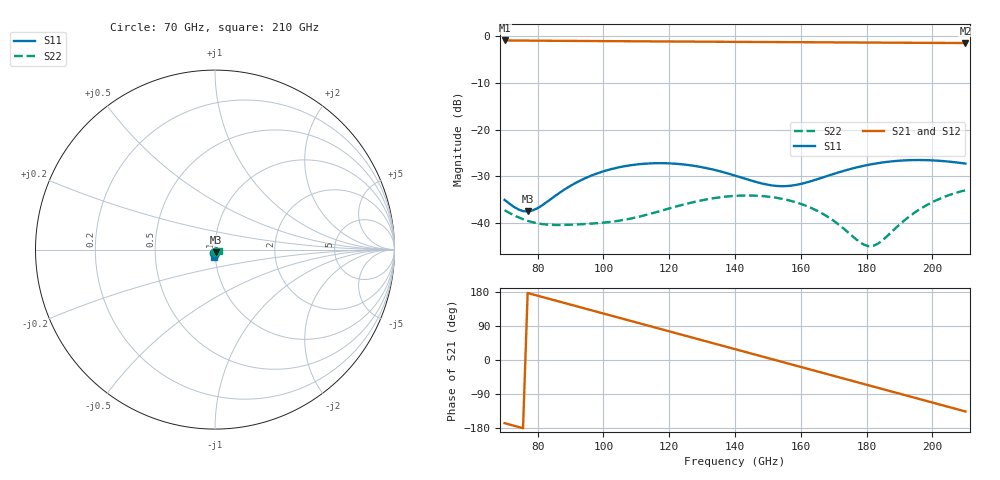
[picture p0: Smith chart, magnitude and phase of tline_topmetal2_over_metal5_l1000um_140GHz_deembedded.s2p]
! Created with skrf 2.0.1 (http://scikit-rf.org).
# GHz S DB R 50.0
!freq dBS11 angS11 dBS21 angS21 dBS12 angS12 dBS22 angS22
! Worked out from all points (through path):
!   101 points, 70 GHz to 210 GHz, reference 50 ohm
!   highest |S21| = -0.89 dB at 70 GHz (marker M1); lowest = -1.4 dB at 210 GHz (marker M2)
!   group delay of S21, straight-line fit = 6.53 ps
!   lowest |S11| = -37.5 dB at 77 GHz (marker M3), VSWR 1.03, Z = 50.3 - j1.3 ohm
!   |S11| at or under -10 dB: start of sweep to end of sweep
!   |S22| runs from -44.9 to -33.0 dB; largest |S21 - S12| = 1e-13
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70  -35.02 -104.5  -0.89 -166.7  -0.89 -166.7  -37.25 -90.3
74.2  -37.07 -90.2  -0.91 -176.6  -0.91 -176.6  -38.76 -84.1
77  -37.51 -75.9  -0.93 176.8  -0.93 176.8  -39.51 -78.6
79.8  -36.88 -62.3  -0.94 170.2  -0.94 170.2  -40.02 -72.8
85.4  -34.16 -48.2  -0.97 157.0  -0.97 157.0  -40.40 -62.0
93.8  -30.61 -48.9  -1.01 137.3  -1.01 137.3  -40.22 -50.7
100.8  -28.75 -56.6  -1.04 120.8  -1.04 120.8  -39.84 -43.5
106.4  -27.83 -64.3  -1.06 107.7  -1.06 107.7  -39.29 -38.5
112  -27.31 -72.4  -1.08 94.5  -1.08 94.5  -38.42 -35.1
117.6  -27.16 -80.3  -1.10 81.3  -1.10 81.3  -37.34 -34.4
128.8  -27.88 -94.1  -1.15 55.0  -1.15 55.0  -35.28 -42.3
140  -29.82 -100.6  -1.19 28.7  -1.19 28.7  -34.17 -59.8
151.2  -31.93 -91.2  -1.23 2.3  -1.23 2.3  -34.43 -83.8
156.8  -32.00 -81.2  -1.25 -10.8  -1.25 -10.8  -35.20 -98.2
163.8  -30.87 -71.5  -1.28 -27.3  -1.28 -27.3  -36.96 -119.2
172.2  -28.99 -68.7  -1.31 -47.0  -1.31 -47.0  -40.70 -154.2
177.8  -27.94 -70.9  -1.33 -60.2  -1.33 -60.2  -44.02 165.4
180.6  -27.51 -72.6  -1.34 -66.8  -1.34 -66.8  -44.94 135.9
183.4  -27.17 -74.7  -1.36 -73.3  -1.36 -73.3  -44.41 104.7
187.6  -26.78 -78.2  -1.37 -83.2  -1.37 -83.2  -41.87 68.1
198.8  -26.53 -87.5  -1.41 -109.5  -1.41 -109.5  -35.94 13.3
210  -27.26 -93.7  -1.44 -135.8  -1.44 -135.8  -32.97 -25.7
